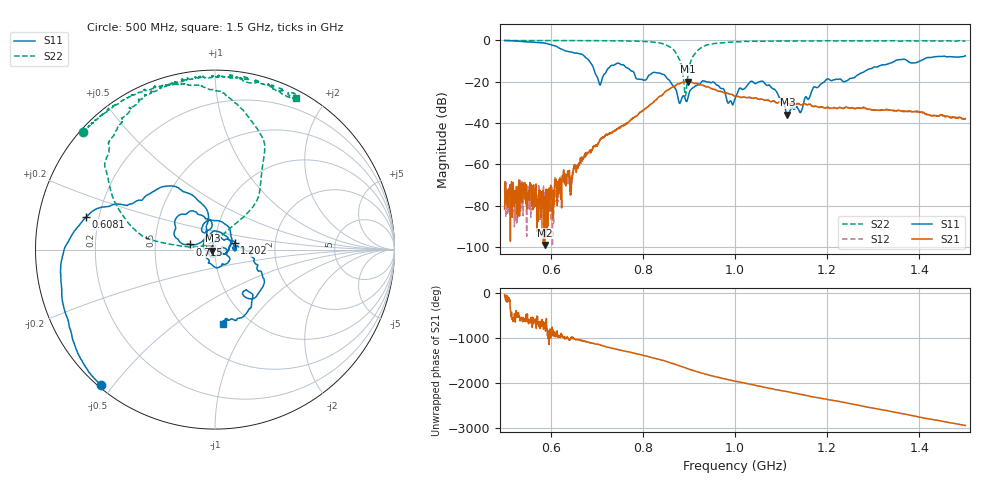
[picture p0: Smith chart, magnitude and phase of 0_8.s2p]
!Agilent Technologies,E8364B,US42250235,A.06.04.32
!Agilent E8364B: A.06.04.32
!Date: Friday, January 15, 2021 15:04:10
!Correction: S11(Full 2 Port(1,2)) S21(Full 2 Port(1,2)) S12(Full 2 Port(1,2)) S22(Full 2 Port(1,2))
!S2P File: Measurements: S11, S21, S12, S22:
# Hz S  dB  R 50
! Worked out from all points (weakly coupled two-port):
!   1601 points, 500 MHz to 1.5 GHz, reference 50 ohm
!   highest |S21| = -19.99 dB at 898.1 MHz (marker M1); lowest = -99.0 dB at 586.9 MHz (marker M2)
!   lowest |S11| = -36.0 dB at 1.114 GHz (marker M3), VSWR 1.03, Z = 48.6 - j0.616 ohm
!   |S11| at or under -10 dB: 683.4 MHz to 1.347 GHz (663.5 MHz wide, 65.4 % of centre); 1.374 GHz to 1.402 GHz (27.32 MHz wide, 1.97 % of centre)
!   |S22| runs from -27.0 to -0.1 dB; largest |S21 - S12| = 0.0029
!   S11 on the Smith chart (normalised r, x): 500 MHz: 0.01, -0.47; 608.1 MHz: 0.15, +0.12; 715 MHz: 0.75, +0.04; 1.202 GHz: 1.24, +0.10; 1.5 GHz: 0.76, -0.76
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5e8  -0.11 -130.0  -81.65 -27.0  -78.86 -62.2  -0.15 138.3
5.35625e8  -0.56 -147.7  -69.37 127.9  -76.66 172.9  -0.15 134.8
5.86875e8  -1.41 -177.6  -99.02 47.0  -73.50 -114.4  -0.17 129.7
6.08125e8  -2.60 165.8  -71.72 134.8  -76.74 -157.5  -0.18 127.3
6.66875e8  -6.71 131.8  -56.51 31.2  -59.51 23.3  -0.20 121.5
7.05e8  -20.68 121.2  -49.27 -61.7  -49.22 -60.7  -0.23 117.9
7.15e8  -16.79 168.7  -46.68 -95.4  -46.90 -96.3  -0.23 116.1
7.45625e8  -11.12 140.8  -42.61 -174.6  -42.64 -174.0  -0.27 110.0
7.90625e8  -18.87 108.7  -35.75 85.2  -35.66 85.2  -0.50 102.7
8.3375e8  -15.83 88.4  -27.58 -26.8  -27.58 -27.9  -1.20 86.5
8.725e8  -24.14 -20.4  -21.54 -149.2  -21.71 -150.5  -6.49 57.0
8.9125e8  -27.94 -148.8  -20.26 142.3  -20.26 141.9  -25.67 90.8
8.98125e8  -27.48 -169.7  -19.99 117.5  -20.00 116.9  -16.56 174.1
9.2375e8  -21.19 109.2  -21.53 33.7  -21.47 33.2  -4.07 154.0
1e9  -28.25 16.0  -27.06 -158.0  -26.93 -158.5  -0.81 121.1
1.05875e9  -19.80 -82.3  -28.51 76.7  -28.73 76.0  -0.44 112.0
1.11375e9  -35.96 -156.5  -30.46 -36.4  -30.51 -36.2  -0.38 104.4
1.1425e9  -34.92 142.9  -31.25 -92.0  -30.83 -92.9  -0.31 100.9
1.166875e9  -24.41 77.9  -31.81 -146.4  -31.68 -145.6  -0.34 97.6
1.2025e9  -18.77 19.4  -32.47 149.8  -32.89 148.5  -0.33 95.0
1.33375e9  -11.28 -25.9  -33.69 -104.7  -33.80 -106.0  -0.31 79.5
1.5e9  -7.55 -84.2  -37.94 -65.8  -38.21 -67.5  -0.36 62.0
